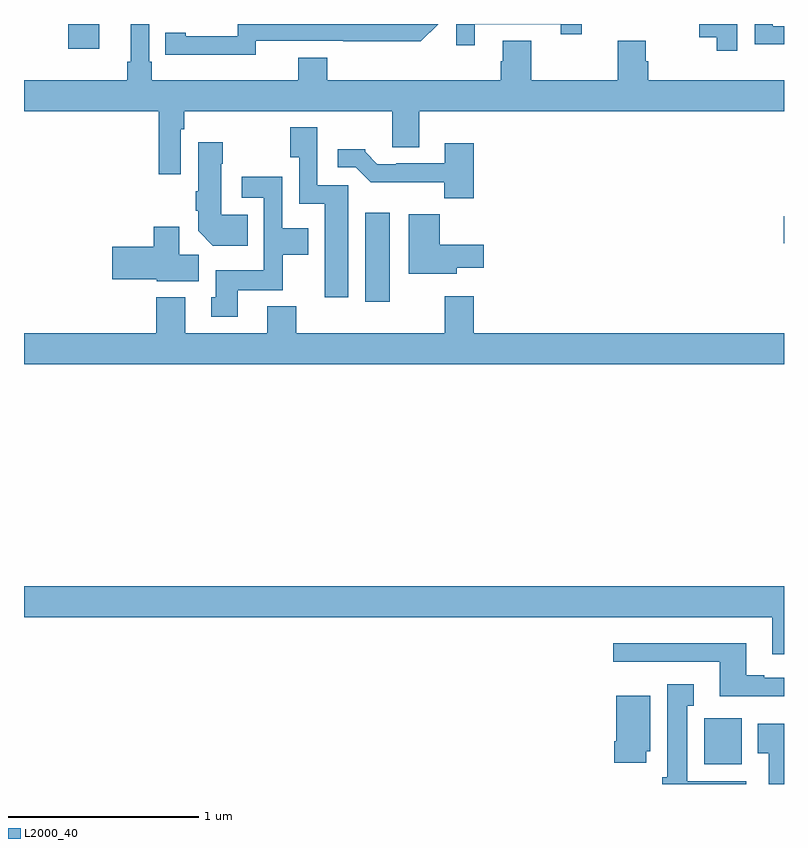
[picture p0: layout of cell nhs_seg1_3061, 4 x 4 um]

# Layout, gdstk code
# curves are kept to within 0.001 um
import gdstk
lib = gdstk.Library(unit=1e-6, precision=1e-09)
def R(c, l, rs):  # rectangles x0, y0, x1, y1
    for r in rs: c.add(gdstk.rectangle(r[:2], r[2:], *l))
def P(c, l, *ps):  # polygons
    for p in ps: c.add(gdstk.Polygon(p, *l))
L2000_40 = (2000, 40)

nhs_seg1_3061 = lib.new_cell('nhs_seg1_3061')
R(nhs_seg1_3061, L2000_40, [(280.58,540.302,280.777,540.544), (278.795,542.736,278.926,543.205), (280.998,543.046,281,543.188), (277.232,544.068,277.396,544.199)])
P(nhs_seg1_3061, L2000_40, [(278.22,544.11),(279.088,544.109),(279.179,544.199),(278.124,544.199),(278.124,544.134),(277.852,544.134),(277.852,544.154),(277.744,544.154),(277.744,544.038),(278.22,544.037)],
  [(280.755,544.199),(280.02,544.199),(280.02,544.197),(280.554,544.197),(280.554,544.129),(280.647,544.129),(280.647,544.059),(280.755,544.059)],
  [(281,544.188),(280.941,544.188),(280.941,544.199),(280.845,544.199),(280.845,544.092),(281,544.092)],
  [(279.373,544.197),(279.824,544.197),(279.824,544.146),(279.935,544.146),(279.935,544.199),(279.276,544.199),(279.276,544.086),(279.373,544.086)],
  [(277.824,543.644),(277.844,543.644),(277.844,543.74),(278.939,543.74),(278.939,543.55),(279.079,543.55),(279.079,543.74),(281,543.74),(281,543.904),(280.286,543.904),(280.286,544.002),(280.273,544.002),(280.273,544.112),(280.126,544.112),(280.126,543.904),(279.669,543.904),(279.669,544.112),(279.521,544.112),(279.521,544.002),(279.509,544.002),(279.509,543.904),(278.597,543.904),(278.597,544.021),(278.444,544.021),(278.444,543.904),(277.673,543.904),(277.673,544),(277.659,544),(277.659,544.199),(277.562,544.199),(277.562,544),(277.543,544),(277.543,543.904),(277,543.904),(277,543.74),(277.708,543.74),(277.708,543.408),(277.824,543.408)],
  [(278.707,543.351),(278.544,543.351),(278.544,543.655),(278.401,543.655),(278.401,543.499),(278.448,543.499),(278.448,543.254),(278.582,543.254),(278.582,542.76),(278.707,542.76)],
  [(278.177,543.196),(278.038,543.196),(278.038,543.464),(278.046,543.464),(278.046,543.577),(277.916,543.577),(277.916,543.32),(277.904,543.32),(277.904,543.217),(277.916,543.217),(277.916,543.11),(277.994,543.032),(278.177,543.032)],
  [(279.368,543.571),(279.215,543.571),(279.215,543.465),(278.959,543.465),(278.959,543.462),(278.86,543.462),(278.796,543.526),(278.796,543.541),(278.652,543.541),(278.652,543.444),(278.745,543.444),(278.824,543.366),(279.213,543.366),(279.213,543.281),(279.368,543.281)],
  [(278.125,542.798),(278.361,542.798),(278.361,542.984),(278.497,542.984),(278.497,543.124),(278.358,543.124),(278.358,543.394),(278.145,543.394),(278.145,543.285),(278.262,543.285),(278.262,542.902),(278.009,542.902),(278.009,542.76),(277.985,542.76),(277.985,542.658),(278.125,542.658)],
  [(279.277,542.915),(279.421,542.915),(279.421,543.037),(279.188,543.037),(279.188,543.199),(279.026,543.199),(279.026,542.885),(279.277,542.885)],
  [(277.921,542.984),(277.816,542.984),(277.816,543.133),(277.682,543.133),(277.682,543.026),(277.464,543.026),(277.464,542.855),(277.698,542.855),(277.698,542.846),(277.921,542.846)],
  [(281,542.572),(279.368,542.572),(279.368,542.767),(279.215,542.767),(279.215,542.572),(278.432,542.572),(278.432,542.713),(278.279,542.713),(278.279,542.572),(277.849,542.572),(277.849,542.761),(277.697,542.761),(277.697,542.572),(277,542.572),(277,542.408),(281,542.408)],
  [(281,541.24),(277,541.24),(277,541.076),(280.937,541.076),(280.937,540.882),(281,540.882)],
  [(281,540.759),(280.897,540.759),(280.897,540.772),(280.801,540.772),(280.801,540.94),(280.101,540.94),(280.101,540.843),(280.661,540.843),(280.661,540.662),(281,540.662)],
  [(280.801,540.214),(280.492,540.214),(280.492,540.611),(280.525,540.611),(280.525,540.724),(280.385,540.724),(280.385,540.234),(280.358,540.234),(280.358,540.199),(280.801,540.199)],
  [(280.276,540.372),(280.297,540.372),(280.297,540.664),(280.118,540.664),(280.118,540.424),(280.106,540.424),(280.106,540.312),(280.276,540.312)],
  [(281,540.517),(280.862,540.517),(280.862,540.361),(280.919,540.361),(280.919,540.199),(281,540.199)])

lib.write_gds('nhs_seg1_3061.gds')
